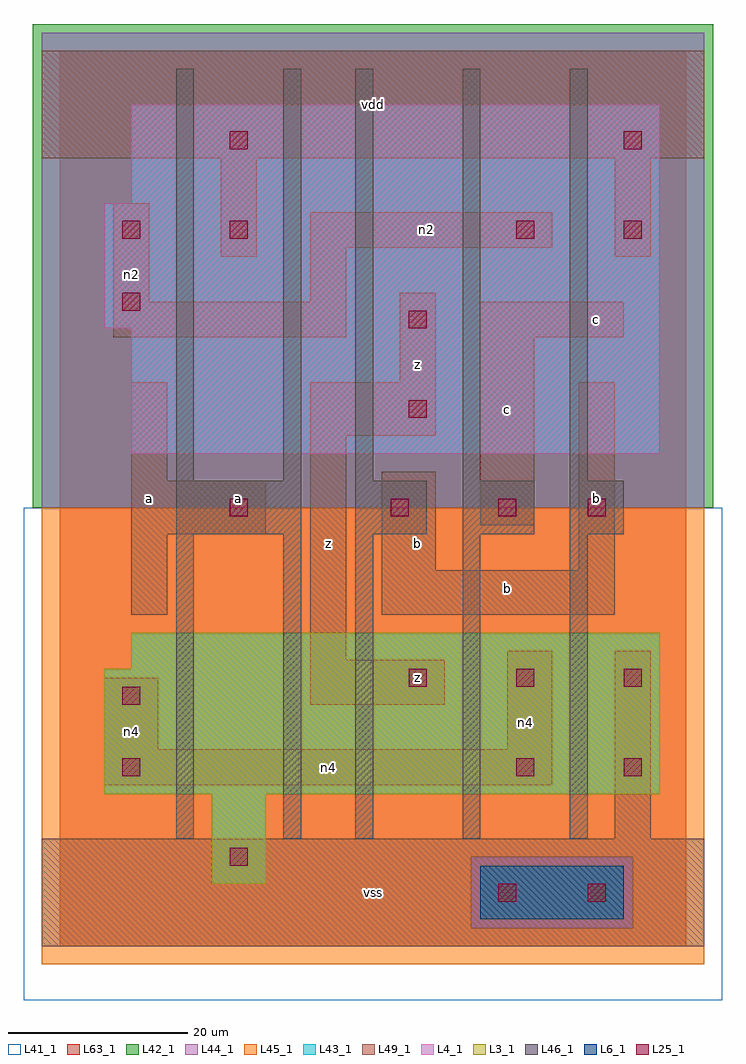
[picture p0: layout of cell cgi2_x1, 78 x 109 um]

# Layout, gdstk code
import gdstk
lib = gdstk.Library(unit=1e-6, precision=1e-09)
def R(c, l, rs):  # rectangles x0, y0, x1, y1
    for r in rs: c.add(gdstk.rectangle(r[:2], r[2:], *l))
def A(c, l, x, y, w, h, nx, ny, dx, dy):  # array of equal rectangles
    R(c, l, [(x+i*dx, y+j*dy, x+i*dx+w, y+j*dy+h) for i in range(nx) for j in range(ny)])
L3_1 = (3, 1)
L4_1 = (4, 1)
L6_1 = (6, 1)
L25_1 = (25, 1)
L41_1 = (41, 1)
L42_1 = (42, 1)
L43_1 = (43, 1)
L44_1 = (44, 1)
L45_1 = (45, 1)
L46_1 = (46, 1)
L49_1 = (49, 1)
L63_1 = (63, 1)

cgi2_x1 = lib.new_cell('cgi2_x1')
R(cgi2_x1, L3_1, [(17,7,23,17), (5,17,67,31), (8,31,67,35)])
R(cgi2_x1, L4_1, [(8,55,67,69), (5,69,67,83), (8,83,67,94)])
R(cgi2_x1, L6_1, [(47,3,63,9)])
A(cgi2_x1, L25_1, 39, 29, 2, 2, 3, 1, 12, 0)
R(cgi2_x1, L25_1, [(49,5,51,7), (59,5,61,7), (19,9,21,11), (7,19,9,21), (51,19,53,21), (63,19,65,21), (7,27,9,29), (19,48,21,50), (37,48,39,50), (49,48,51,50), (59,48,61,50), (39,59,41,61), (39,69,41,71), (7,71,9,73), (7,79,9,81), (19,79,21,81), (51,79,53,81), (63,79,65,81), (19,89,21,91), (63,89,65,91)])
R(cgi2_x1, L41_1, [(-4,-6,74,49), (-3,-3,73,49)])
R(cgi2_x1, L42_1, [(-3,49,73,103)])
R(cgi2_x1, L43_1, [(47,3,63,9), (17,7,23,17), (5,17,67,31), (8,31,67,35), (8,55,67,69), (5,69,67,83), (8,83,67,94)])
R(cgi2_x1, L44_1, [(46,2,64,10), (-2,49,72,102)])
R(cgi2_x1, L45_1, [(-2,-2,72,2), (-2,2,46,10), (64,2,72,10), (-2,10,72,49)])
A(cgi2_x1, L46_1, 33, 12, 2, 34, 3, 1, 12, 0)
A(cgi2_x1, L46_1, 33, 52, 2, 46, 3, 1, 12, 0)
R(cgi2_x1, L46_1, [(13,12,15,46), (25,12,27,46), (13,46,27,52), (33,46,41,52), (45,46,53,52), (57,46,63,52), (13,52,15,98), (25,52,27,98)])
R(cgi2_x1, L49_1, [(-2,0,72,12), (62,12,66,33), (5,18,55,22), (5,22,11,30), (50,22,55,33), (28,27,43,32), (28,32,32,57), (8,37,12,46), (36,37,62,42), (36,42,42,53), (58,42,62,63), (8,46,23,52), (47,47,53,68), (8,52,12,63), (28,57,42,63), (38,63,42,73), (6,68,32,72), (47,68,63,72), (6,72,10,83), (28,72,32,78), (18,77,22,88), (62,77,66,88), (28,78,55,82), (-2,88,72,100)])
R(cgi2_x1, L63_1, [(0,0,70,100)])
cgi2_x1.add(gdstk.Label('n4', (8,24), layer=49, texttype=1))
cgi2_x1.add(gdstk.Label('n2', (8,75), layer=49, texttype=1))
cgi2_x1.add(gdstk.Label('a', (10,50), layer=49, texttype=1))
cgi2_x1.add(gdstk.Label('a', (10,50), layer=49, texttype=1))
cgi2_x1.add(gdstk.Label('a', (20,50), layer=49, texttype=1))
cgi2_x1.add(gdstk.Label('a', (20,50), layer=49, texttype=1))
cgi2_x1.add(gdstk.Label('vss', (35,6), layer=49, texttype=1))
cgi2_x1.add(gdstk.Label('vss', (35,6), layer=49, texttype=1))
cgi2_x1.add(gdstk.Label('z', (30,45), layer=49, texttype=1))
cgi2_x1.add(gdstk.Label('z', (30,45), layer=49, texttype=1))
cgi2_x1.add(gdstk.Label('vdd', (35,94), layer=49, texttype=1))
cgi2_x1.add(gdstk.Label('vdd', (35,94), layer=49, texttype=1))
cgi2_x1.add(gdstk.Label('n4', (52,25), layer=49, texttype=1))
cgi2_x1.add(gdstk.Label('n4', (30,20), layer=49, texttype=1))
cgi2_x1.add(gdstk.Label('z', (40,30), layer=49, texttype=1))
cgi2_x1.add(gdstk.Label('z', (40,30), layer=49, texttype=1))
cgi2_x1.add(gdstk.Label('b', (50,40), layer=49, texttype=1))
cgi2_x1.add(gdstk.Label('b', (50,40), layer=49, texttype=1))
cgi2_x1.add(gdstk.Label('b', (40,45), layer=49, texttype=1))
cgi2_x1.add(gdstk.Label('b', (40,45), layer=49, texttype=1))
cgi2_x1.add(gdstk.Label('c', (50,60), layer=49, texttype=1))
cgi2_x1.add(gdstk.Label('c', (50,60), layer=49, texttype=1))
cgi2_x1.add(gdstk.Label('z', (40,65), layer=49, texttype=1))
cgi2_x1.add(gdstk.Label('z', (40,65), layer=49, texttype=1))
cgi2_x1.add(gdstk.Label('n2', (41,80), layer=49, texttype=1))
cgi2_x1.add(gdstk.Label('b', (60,50), layer=49, texttype=1))
cgi2_x1.add(gdstk.Label('b', (60,50), layer=49, texttype=1))
cgi2_x1.add(gdstk.Label('c', (60,70), layer=49, texttype=1))
cgi2_x1.add(gdstk.Label('c', (60,70), layer=49, texttype=1))

lib.write_gds('cgi2_x1.gds')
